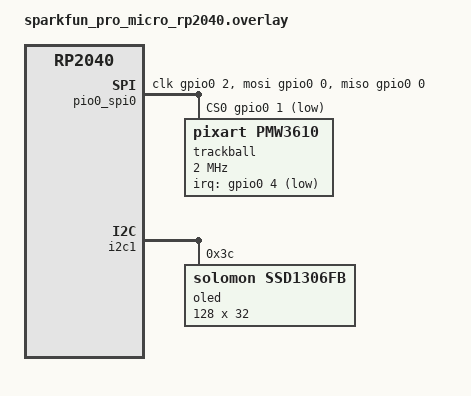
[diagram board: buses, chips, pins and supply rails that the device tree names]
#include <dt-bindings/pinctrl/rpi-pico-rp2040-pinctrl.h>
#include <zephyr/dt-bindings/input/input-event-codes.h>

&pinctrl {
    i2c1_default: i2c1_default {
        group1 {
          pinmux = <I2C1_SDA_P26>, <I2C1_SCL_P27>;
          input-enable;
          input-schmitt-enable;
        };
    };

	pio0_spi0_default: pio0_spi0_default {
		group1 {
			pinmux = <PIO0_P0>, <PIO0_P2>;
		};
		group2 {
			pinmux = <PIO0_P0>;
			input-enable;
		};
	};

};

&pio0 {
	status = "okay";

	pio0_spi0: pio0_spi0 {
		pinctrl-0 = <&pio0_spi0_default>;
		pinctrl-names = "default";

		compatible = "raspberrypi,pico-spi-pio";
		status = "okay";
		#address-cells = <1>;
		#size-cells = <0>;
		// clocks = <&clocks RPI_PICO_CLKID_CLK_SYS>;
        // clocks = <&peripheral_clk>;
		clocks = < &system_clk >;
		miso-gpios = <&gpio0 0 0>;
		cs-gpios = <&gpio0 1 GPIO_ACTIVE_LOW>;
		clk-gpios = <&gpio0 2 GPIO_ACTIVE_HIGH>;
		mosi-gpios = <&gpio0 0 GPIO_ACTIVE_HIGH>;

        trackball: trackball@0 {
            status = "okay";
            compatible = "pixart,pmw3610";
            reg = <0>;
            spi-max-frequency = <2000000>;
            irq-gpios = <&gpio0 4 (GPIO_ACTIVE_LOW | GPIO_PULL_UP)>;
            cpi = <600>;
            evt-type = <INPUT_EV_REL>;
            x-input-code = <INPUT_REL_X>;
            y-input-code = <INPUT_REL_Y>;
        };
	};
};


&i2c1 {
    status = "okay";

    oled: ssd1306@3c {
        compatible = "solomon,ssd1306fb";
        reg = <0x3c>;
        width = <128>;
        height = <32>;
        segment-offset = <0>;
        page-offset = <0>;
        display-offset = <0>;
        multiplex-ratio = <31>;
        segment-remap;
        com-invdir;
        com-sequential;
        inversion-on;
        prechargep = <0x22>;
    };
};
